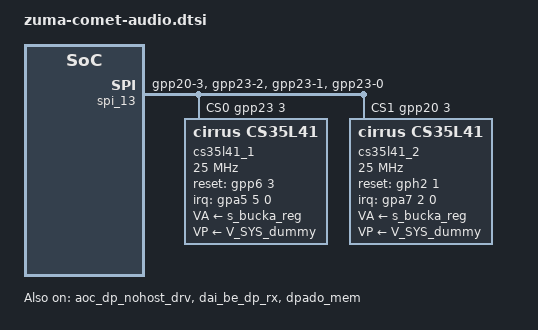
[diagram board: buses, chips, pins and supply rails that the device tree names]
// SPDX-License-Identifier: GPL-2.0-only
/*
 * comet audio device tree source
 *
 * Copyright 2023 Google LLC
 */

#include <dt-bindings/interrupt-controller/irq.h>
#include <dt-bindings/gpio/gpio.h>
#include <arm64/exynos/exynos-pinctrl.h>
//#include <dt-bindings/sound/google-aoc.h>

/* DP audio */
&aoc_dp_nohost_drv {
	status = "okay";
};

/* DP audio */
&dai_fe_dp_dma_nohost_rx {
	status = "okay";
};

/* DP audio */
&dai_be_dp_rx {
	status = "okay";
	codec {
		sound-dai = <&drmdp_adma_pb>;
	};
};

/* DP audio */
&dpado_mem {
	status = "okay";
};

/* DP audio */
&drmdp_adma {
	status = "okay";
	memory-region = <&dpado_mem>;
};

/* DP audio */
&drmdp_adma_pb {
	status = "okay";
};

&dai_be_tdm0_rx {
	codec {
		sound-dai = <&cs35l41_1 0>,
			<&cs35l41_2 0>;
	};
};

&dai_be_tdm0_tx {
	codec {
		sound-dai = <&cs35l41_1 0>,
			<&cs35l41_2 0>;
	};
};

&aoc_snd_card {
	clks {
		sys {
			sys@cs35l41_l {
				comp = <&cs35l41_1>;
				src = "BCLK";
				/* clk id */
				id = <0>;
				/* clk source */
				srcid = <0>;
				/* in clk multiple */
				in_mul = <1>;
				/* out clk multiple */
				out_mul = <1>;
			};

			sys@cs35l41_r {
				comp = <&cs35l41_2>;
				src = "BCLK";
				/* clk id */
				id = <0>;
				/* clk source */
				srcid = <0>;
				/* in clk multiple */
				in_mul = <1>;
				/* out clk multiple */
				out_mul = <1>;
			};
		};
	};
};

/* GPIO_ALIVE */
&pinctrl_0 {
	cs35l41_2_irq: cs35l41-2-irq {
		samsung,pins = "gpa7-2"; /* XEINT_16 */
		samsung,pin-function = <EXYNOS_PIN_FUNC_EINT>;
		samsung,pin-pud = <EXYNOS_PIN_PULL_NONE>;
	};
};

/* GPIO_FAR_ALIVE */
&pinctrl_2 {
	cs35l41_1_irq: cs35l41-1-irq {
		samsung,pins = "gpa5-5"; /* XEINT_5 */
		samsung,pin-function = <EXYNOS_PIN_FUNC_EINT>;
		samsung,pin-pud = <EXYNOS_PIN_PULL_NONE>;
	};
};

/* GPIO_PERIC0 */
&pinctrl_11 {
	cs35l41_1_rst: cs35l41-1-rst {
		samsung,pins = "gpp6-3"; /* XAPC_USI3_CTSn_CSn */
		samsung,pin-function = <EXYNOS_PIN_FUNC_OUTPUT>;
		samsung,pin-pud = <EXYNOS_PIN_PULL_NONE>;
		samsung,pin-con-pdn = <EXYNOS_PIN_PDN_PREV>;
		samsung,pin-pud-pdn = <EXYNOS_PIN_PULL_NONE>;
	};
};

/* GPIO_PERIC1 */
&pinctrl_8 {
	cs35l41_2_rst: cs35l41-2-rst {
		samsung,pins = "gph2-1"; /* XHSI1_GPIO11 */
		samsung,pin-function = <EXYNOS_PIN_FUNC_OUTPUT>;
		samsung,pin-pud = <EXYNOS_PIN_PULL_NONE>;
		samsung,pin-con-pdn = <EXYNOS_PIN_PDN_PREV>;
		samsung,pin-pud-pdn = <EXYNOS_PIN_PULL_NONE>;
	};
};

/* GPIO_PERIC1 */
&pinctrl_12 {
	cs35l41_miso: cs35l41-miso {
		samsung,pins = "gpp23-2"; /* XAPC_USI13_RTSn_DI */
		samsung,pin-pud = <EXYNOS_PIN_PULL_DOWN>;
	};

	cs35l41_mosi: cs35l41-mosi {
		samsung,pins = "gpp23-1"; /* XAPC_USI13_TXD_DO_SDA */
		samsung,pin-drv = <ZUMA_PIN_DRV_X2>;
	};

	cs35l41_clk: cs35l41-clk {
		samsung,pins = "gpp23-0"; /* XAPC_USI13_RXD_CLK_SCL */
		samsung,pin-drv = <ZUMA_PIN_DRV_X2>;
	};

	cs35l41_cs2: cs35l41-cs2 {
		samsung,pins = "gpp20-3";
		samsung,pin-function = <EXYNOS_PIN_FUNC_OUTPUT>;
		samsung,pin-pud = <EXYNOS_PIN_PULL_NONE>;
		samsung,pin-drv = <ZUMA_PIN_DRV_X2>;
	};
};

&spi13_cs_func {
        samsung,pins = "gpp23-3";
        samsung,pin-drv = <ZUMA_PIN_DRV_X2>;
};

&spi_13 {
	/* XAPC_USI13 */
	#address-cells = <1>;
	#size-cells = <0>;
	status = "okay";

	pinctrl-names = "default";
	pinctrl-0 = <&spi13_bus &spi13_cs_func &cs35l41_cs2
		     &cs35l41_miso &cs35l41_mosi &cs35l41_clk>;

	num-cs = <2>;
	cs-gpios = <&gpp23 3 GPIO_ACTIVE_HIGH>, <&gpp20 3 GPIO_ACTIVE_HIGH>;

	cs35l41_1: cs35l41@0 {
		#sound-dai-cells = <1>;
		compatible = "cirrus,cs35l41";
		spi-max-frequency = <25000000>;
		reg = <0>;

		status = "okay";

		pinctrl-names = "default";
		pinctrl-0 = <&cs35l41_1_irq &cs35l41_1_rst>;

		interrupt-parent = <&gpa5>;
		interrupts = <5 0 0>;

		reset-gpios = <&gpp6 3 GPIO_ACTIVE_HIGH>;

		VA-supply = <&s_bucka_reg>;
		VP-supply = <&V_SYS_dummy>;

		cirrus,boost-peak-milliamp = <3500>;
		cirrus,boost-ind-nanohenry = <1000>;
		cirrus,boost-cap-microfarad = <4>;

		cirrus,asp-sdout-hiz = <3>;
		cirrus,tuning-has-prefix;
		cirrus,hw-noise-gate-select = <63>;
		cirrus,hibernate-enable;

		cirrus,gpio-config2 {
			cirrus,gpio-src-select = <0x4>;
			cirrus,gpio-output-enable;
		};

		controller-data {
			samsung,spi-feedback-delay = <1>;
			/* SET SPI CS CONTROL TO AUTOMATIC */
			samsung,spi-chip-select-mode = <1>;
		};
	};

	cs35l41_2: cs35l41@1 {
		#sound-dai-cells = <1>;
		sound-name-prefix = "R";
		compatible = "cirrus,cs35l41";
		spi-max-frequency = <25000000>;
		reg = <1>;

		status = "okay";

		pinctrl-names = "default";
		pinctrl-0 = <&cs35l41_2_irq &cs35l41_2_rst>;

		interrupt-parent = <&gpa7>;
		interrupts = <2 0 0>;

		reset-gpios = <&gph2 1 GPIO_ACTIVE_HIGH>;

		VA-supply = <&s_bucka_reg>;
		VP-supply = <&V_SYS_dummy>;

		cirrus,boost-peak-milliamp = <3500>;
		cirrus,boost-ind-nanohenry = <1000>;
		cirrus,boost-cap-microfarad = <4>;

		cirrus,asp-sdout-hiz = <3>;
		cirrus,tuning-has-prefix;
		cirrus,hw-noise-gate-select = <63>;
		cirrus,hibernate-enable;
		cirrus,right-channel-amp;

		cirrus,gpio-config2 {
			cirrus,gpio-src-select = <0x4>;
			cirrus,gpio-output-enable;
		};

		controller-data {
			samsung,spi-feedback-delay = <1>;
			/* SET SPI CS CONTROL TO AUTOMATIC */
			samsung,spi-chip-select-mode = <1>;
		};
	};
};

&aoc {
	aoc-board-cfg = "CT3";
	aoc-board-id = <0x40602>;
	aoc-board-rev = <0x10000>;
	prevent-fw-load = <0x0>;
};
